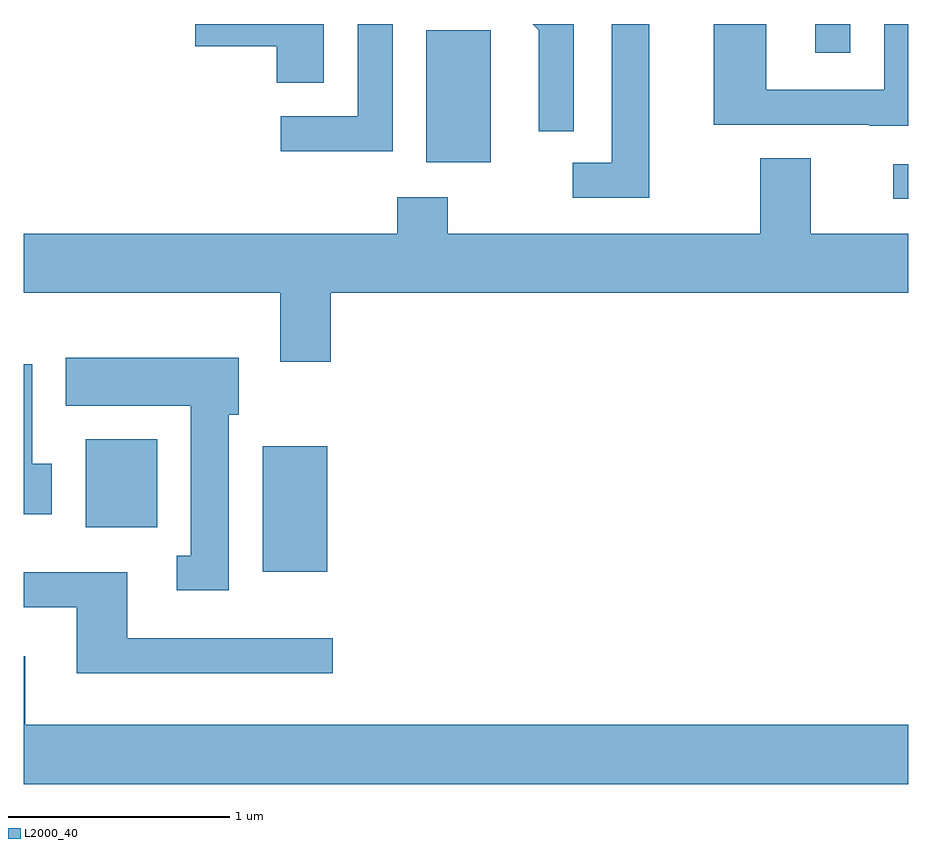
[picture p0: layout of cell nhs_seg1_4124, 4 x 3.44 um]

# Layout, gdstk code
import gdstk
lib = gdstk.Library(unit=1e-6, precision=1e-09)
def R(c, l, rs):  # rectangles x0, y0, x1, y1
    for r in rs: c.add(gdstk.rectangle(r[:2], r[2:], *l))
def P(c, l, *ps):  # polygons
    for p in ps: c.add(gdstk.Polygon(p, *l))
L2000_40 = (2000, 40)

nhs_seg1_4124 = lib.new_cell('nhs_seg1_4124')
R(nhs_seg1_4124, L2000_40, [(310.691,867.236,310.984,867.804), (309.891,867.436,310.214,867.834), (313.543,868.921,313.611,869.079), (311.431,869.086,311.724,869.684), (313.191,869.583,313.349,869.712)])
P(nhs_seg1_4124, L2000_40, [(313.611,869.712),(313.501,869.712),(313.501,869.414),(312.969,869.414),(312.969,869.712),(312.731,869.712),(312.731,869.256),(313.435,869.256),(313.435,869.251),(313.611,869.251)],
  [(312.099,869.712),(311.913,869.712),(311.941,869.684),(311.941,869.228),(312.099,869.228)],
  [(311.279,869.712),(311.121,869.712),(311.121,869.294),(310.773,869.294),(310.773,869.136),(311.279,869.136)],
  [(312.439,869.712),(312.271,869.712),(312.271,869.084),(312.093,869.084),(312.093,868.926),(312.439,868.926)],
  [(310.969,869.712),(310.386,869.712),(310.386,869.611),(310.756,869.611),(310.756,869.446),(310.969,869.446)],
  [(310.999,868.496),(313.611,868.496),(313.611,868.764),(313.169,868.764),(313.169,869.104),(312.941,869.104),(312.941,868.764),(311.529,868.764),(311.529,868.929),(311.301,868.929),(311.301,868.764),(309.611,868.764),(309.611,868.496),(310.771,868.496),(310.771,868.186),(310.999,868.186)],
  [(310.539,867.946),(310.584,867.946),(310.584,868.204),(309.801,868.204),(309.801,867.986),(310.366,867.986),(310.366,867.309),(310.303,867.309),(310.303,867.151),(310.539,867.151)],
  [(309.739,867.724),(309.649,867.724),(309.649,868.174),(309.611,868.174),(309.611,867.496),(309.739,867.496)],
  [(311.008,866.934),(310.079,866.934),(310.079,867.234),(309.611,867.234),(309.611,867.076),(309.851,867.076),(309.851,866.776),(311.008,866.776)],
  [(313.611,866.544),(309.619,866.544),(309.619,866.854),(309.611,866.854),(309.611,866.276),(313.611,866.276)])

lib.write_gds('nhs_seg1_4124.gds')
